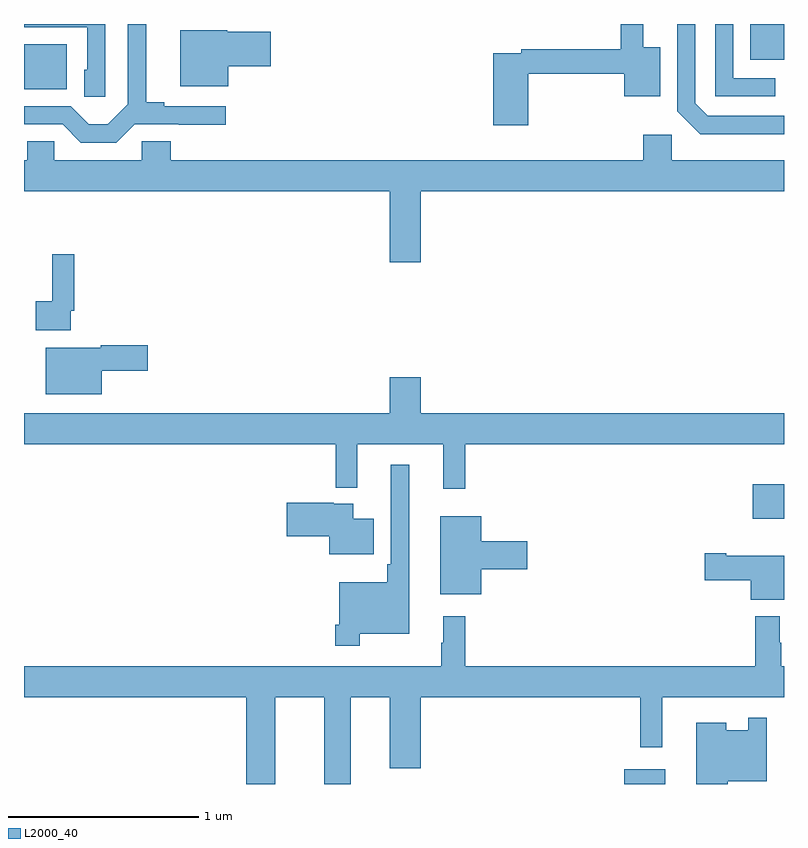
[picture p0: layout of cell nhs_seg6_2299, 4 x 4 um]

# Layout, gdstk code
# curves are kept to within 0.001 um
import gdstk
lib = gdstk.Library(unit=1e-6, precision=1e-09)
def R(c, l, rs):  # rectangles x0, y0, x1, y1
    for r in rs: c.add(gdstk.rectangle(r[:2], r[2:], *l))
def P(c, l, *ps):  # polygons
    for p in ps: c.add(gdstk.Polygon(p, *l))
L2000_40 = (2000, 40)

nhs_seg6_2299 = lib.new_cell('nhs_seg6_2299')
R(nhs_seg6_2299, L2000_40, [(250.16,993.5,250.375,993.577), (250.835,994.895,251,995.077), (247,997.157,247.225,997.393), (250.823,997.313,251,997.5)])
P(nhs_seg6_2299, L2000_40, [(249.653,997.239),(250.16,997.239),(250.16,997.121),(250.348,997.121),(250.348,997.378),(250.259,997.378),(250.259,997.5),(250.141,997.5),(250.141,997.367),(249.616,997.367),(249.616,997.347),(249.47,997.347),(249.47,996.966),(249.653,996.966)],
  [(251,997.017),(250.599,997.017),(250.533,997.083),(250.533,997.5),(250.437,997.5),(250.437,997.041),(250.558,996.92),(251,996.92)],
  [(247.582,996.972),(248.062,996.971),(248.062,997.068),(247.738,997.068),(247.738,997.088),(247.643,997.088),(247.643,997.5),(247.545,997.5),(247.545,997.077),(247.441,996.973),(247.34,996.973),(247.245,997.068),(247,997.068),(247,996.972),(247.203,996.972),(247.299,996.876),(247.486,996.876)],
  [(247.428,997.5),(247,997.5),(247,997.482),(247.332,997.482),(247.332,997.26),(247.316,997.26),(247.316,997.117),(247.428,997.117)],
  [(250.954,997.215),(250.734,997.215),(250.734,997.5),(250.638,997.5),(250.638,997.119),(250.954,997.119)],
  [(248.074,997.277),(248.299,997.277),(248.299,997.46),(248.07,997.46),(248.07,997.468),(247.823,997.468),(247.823,997.172),(248.074,997.172)],
  [(249.088,996.62),(251,996.62),(251,996.784),(250.41,996.784),(250.41,996.916),(250.259,996.916),(250.259,996.784),(247.772,996.784),(247.772,996.882),(247.62,996.882),(247.62,996.784),(247.158,996.784),(247.158,996.882),(247.016,996.882),(247.016,996.784),(247,996.784),(247,996.62),(248.924,996.62),(248.924,996.246),(249.088,996.246)],
  [(247.245,995.992),(247.265,995.992),(247.265,996.289),(247.148,996.289),(247.148,996.041),(247.062,996.041),(247.062,995.888),(247.245,995.888)],
  [(247.408,995.675),(247.651,995.675),(247.651,995.81),(247.404,995.81),(247.404,995.797),(247.115,995.797),(247.115,995.552),(247.408,995.552)],
  [(249.323,995.288),(251,995.288),(251,995.452),(249.088,995.452),(249.088,995.641),(248.924,995.641),(248.924,995.452),(247,995.452),(247,995.288),(248.64,995.288),(248.64,995.06),(248.753,995.06),(248.753,995.288),(249.206,995.288),(249.206,995.055),(249.323,995.055)],
  [(248.767,994.292),(249.028,994.292),(249.028,995.179),(248.931,995.179),(248.931,994.657),(248.911,994.657),(248.911,994.561),(248.658,994.561),(248.658,994.339),(248.638,994.339),(248.638,994.227),(248.767,994.227)],
  [(248.842,994.897),(248.734,994.897),(248.734,994.975),(248.63,994.975),(248.63,994.98),(248.382,994.98),(248.382,994.805),(248.606,994.805),(248.606,994.709),(248.842,994.709)],
  [(249.406,994.631),(249.649,994.631),(249.649,994.778),(249.406,994.778),(249.406,994.909),(249.191,994.909),(249.191,994.499),(249.406,994.499)],
  [(251,994.702),(250.696,994.702),(250.696,994.715),(250.584,994.715),(250.584,994.573),(250.826,994.573),(250.826,994.469),(251,994.469)],
  [(248.323,993.956),(248.579,993.956),(248.579,993.5),(248.719,993.5),(248.719,993.956),(248.924,993.956),(248.924,993.582),(249.088,993.582),(249.088,993.956),(250.243,993.956),(250.243,993.693),(250.36,993.693),(250.36,993.956),(251,993.956),(251,994.12),(250.985,994.12),(250.985,994.244),(250.978,994.244),(250.978,994.384),(250.849,994.384),(250.849,994.12),(249.323,994.12),(249.323,994.384),(249.206,994.384),(249.206,994.244),(249.195,994.244),(249.195,994.12),(247,994.12),(247,993.956),(248.171,993.956),(248.171,993.5),(248.323,993.5)],
  [(250.704,993.515),(250.908,993.515),(250.908,993.85),(250.812,993.85),(250.812,993.784),(250.696,993.784),(250.696,993.823),(250.538,993.823),(250.538,993.5),(250.704,993.5)])

lib.write_gds('nhs_seg6_2299.gds')
